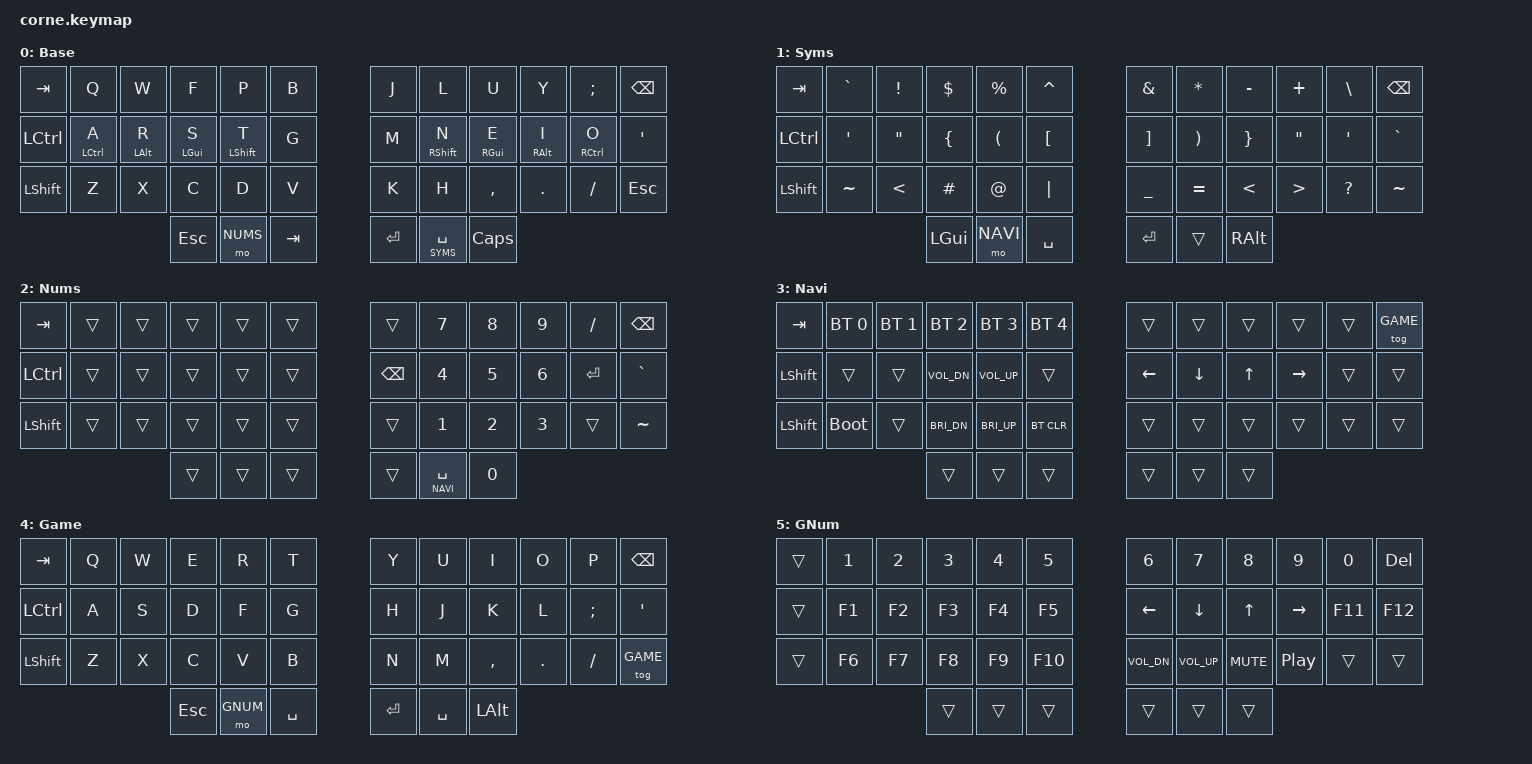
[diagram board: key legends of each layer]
/*
 * Copyright (c) 2020 The ZMK Contributors
 *
 * SPDX-License-Identifier: MIT
 */

#include <behaviors.dtsi>
#include <dt-bindings/zmk/keys.h>
#include <dt-bindings/zmk/bt.h>

// Layers
#define BASE 0
#define SYMS 1
#define NUMS 2
#define NAVI 3
#define GAME 4
#define GNUM 5

/ {

    behaviors {
        hm: homerow_mods {
            compatible = "zmk,behavior-hold-tap";
            #binding-cells = <2>;
            tapping-term-ms = <150>;
            quick-tap-ms = <0>;
            flavor = "tap-preferred";
            bindings = <&kp>, <&kp>;
        };
        lh_pht: left_positional_hold_tap {
            compatible = "zmk,behavior-hold-tap";
            #binding-cells = <2>;
            flavor = "tap-unless-interrupted";
            tapping-term-ms = <100>;                        // <---[[produces tap if held longer than tapping-term-ms]]
            quick-tap-ms = <200>;
            bindings = <&kp>, <&kp>;
            hold-trigger-key-positions = <5 6 7 8 9 10>;    // <---[[right-hand keys]]
        };
    };

    keymap {
        compatible = "zmk,keymap";

        BASE {
            display-name = "Base";
            bindings = <
  &kp TAB   &kp Q       &kp W      &kp F      &kp P       &kp B &kp J &kp L       &kp U      &kp Y      &kp SEMI    &kp BSPC
  &kp LCTRL &hm LCTRL A &hm LALT R &hm LGUI S &hm LSHFT T &kp G &kp M &hm RSHFT N &hm RGUI E &hm RALT I &hm RCTRL O &kp SQT
  &kp LSHFT &kp Z       &kp X      &kp C      &kp D       &kp V &kp K &kp H       &kp COMMA  &kp DOT    &kp FSLH    &kp ESC
                        &kp ESCAPE &mo NUMS   &kp TAB     &kp RET &lt SYMS SPACE &kp CAPS
            >;
        };

        SYMS {
            display-name = "Syms";
            bindings = <
  &kp  TAB  &kp GRAVE &kp EXCL &kp DLLR &kp PRCNT &kp CARET &kp AMPS  &kp ASTRK &kp MINUS &kp PLUS &kp BSLH  &kp BSPC
  &kp LCTRL &kp APOS  &kp DQT  &kp LBRC &kp LPAR  &kp LBKT  &kp RBKT  &kp RPAR  &kp RBRC  &kp DQT  &kp APOS  &kp GRAVE
  &kp LSHFT &kp TILDE &kp LT   &kp HASH &kp AT    &kp PIPE  &kp UNDER &kp EQUAL &kp LT    &kp GT   &kp QMARK &kp TILDE
                               &kp LGUI &mo NAVI  &kp SPACE &kp RET   &trans    &kp RALT
            >;
        };

        NUMS {
            display-name = "Nums";
            bindings = <
  &kp TAB   &trans &trans &trans &trans &trans &trans   &kp N7 &kp N8 &kp N9 &kp FSLH &kp BSPC
  &kp LCTRL &trans &trans &trans &trans &trans &kp BSPC &kp N4 &kp N5 &kp N6 &kp RET  &kp GRAVE
  &kp LSHFT &trans &trans &trans &trans &trans &trans   &kp N1 &kp N2 &kp N3 &trans   &kp TILDE
                          &trans &trans &trans &trans   &lt NAVI SPACE &kp N0
            >;
        };

        NAVI {
            display-name = "Navi";
            bindings = <
  &kp TAB    &bt BT_SEL 0 &bt BT_SEL 1 &bt BT_SEL 2 &bt BT_SEL 3 &bt BT_SEL 4 &trans   &trans   &trans &trans    &trans &tog GAME
  &kp LSHFT  &trans       &trans       &kp C_VOL_DN &kp C_VOL_UP &trans       &kp LEFT &kp DOWN &kp UP &kp RIGHT &trans &trans
  &kp LSHFT  &bootloader  &trans       &kp C_BRI_DN &kp C_BRI_UP &bt BT_CLR   &trans   &trans   &trans &trans    &trans &trans
                                       &trans       &trans       &trans       &trans   &trans   &trans
            >;
        };

        // Gaming layer: plain QWERTY, no home-row mods, so held keys stay held.
        // Toggle on from NAVI (top-right key), toggle off with the bottom-right key.
        // Left pinky column keeps Tab / Ctrl / Shift for WC3 (subgroup cycle,
        // assign group, shift-queue). Hold the middle left thumb for GNUM.
        GAME {
            display-name = "Game";
            bindings = <
  &kp TAB   &kp Q &kp W &kp E &kp R &kp T   &kp Y &kp U &kp I     &kp O   &kp P    &kp BSPC
  &kp LCTRL &kp A &kp S &kp D &kp F &kp G   &kp H &kp J &kp K     &kp L   &kp SEMI &kp SQT
  &kp LSHFT &kp Z &kp X &kp C &kp V &kp B   &kp N &kp M &kp COMMA &kp DOT &kp FSLH &tog GAME
                  &kp ESC &mo GNUM &kp SPACE   &kp RET &kp SPACE &kp LALT
            >;
        };

        // Game numbers: 1-0 on the top row (control groups), F1-F10 on the
        // left hand (heroes on F1-F3, idle worker on F8) so everything is
        // reachable with the right hand on the mouse. Pinky column stays
        // transparent so Ctrl+<thumb>+N assigns a control group.
        GNUM {
            display-name = "GNum";
            bindings = <
  &trans &kp N1 &kp N2 &kp N3 &kp N4 &kp N5    &kp N6       &kp N7       &kp N8     &kp N9    &kp N0  &kp DEL
  &trans &kp F1 &kp F2 &kp F3 &kp F4 &kp F5    &kp LEFT     &kp DOWN     &kp UP     &kp RIGHT &kp F11 &kp F12
  &trans &kp F6 &kp F7 &kp F8 &kp F9 &kp F10   &kp C_VOL_DN &kp C_VOL_UP &kp C_MUTE &kp C_PP  &trans  &trans
                &trans &trans &trans           &trans       &trans       &trans
            >;
        };
    };
};
